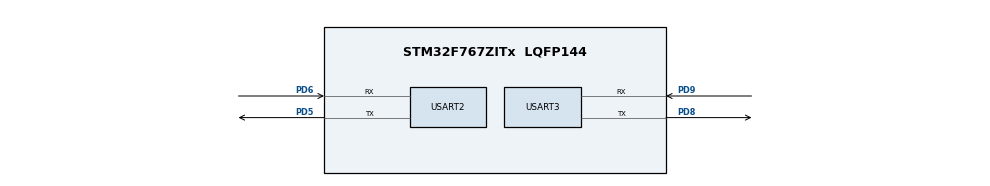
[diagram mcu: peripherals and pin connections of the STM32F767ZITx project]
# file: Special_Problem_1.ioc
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Mcu.Family=STM32F7
Mcu.Name=STM32F767ZITx
Mcu.Package=LQFP144
NVIC.PriorityGroup=NVIC_PRIORITYGROUP_2
PD5.Mode=Asynchronous
PD5.Signal=USART2_TX
PD6.Mode=Asynchronous
PD6.Signal=USART2_RX
PD8.Mode=Asynchronous
PD8.Signal=USART3_TX
PD9.Mode=Asynchronous
PD9.Signal=USART3_RX
ProjectManager.HeapSize=0x200
ProjectManager.StackSize=0x400
ProjectManager.TargetToolchain=STM32CubeIDE
RCC.HSE_VALUE=25000000
RCC.HSI_VALUE=16000000
RCC.LSE_VALUE=32768
RCC.USBFreq_Value=96000000
RCC.VCOOutputFreq_Value=192000000
USART2.VirtualMode-Asynchronous=VM_ASYNC
USART3.VirtualMode-Asynchronous=VM_ASYNC
board=custom

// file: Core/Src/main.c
/* USER CODE BEGIN Header */
/**
 ******************************************************************************
 * @file           : main.c
 * @brief          : Main program body
 ******************************************************************************
 * @attention
 *
 * Copyright (c) 2023 STMicroelectronics.
 * All rights reserved.
 *
 * This software is licensed under terms that can be found in the LICENSE file
 * in the root directory of this software component.
 * If no LICENSE file comes with this software, it is provided AS-IS.
 *
 ******************************************************************************
 */
/* USER CODE END Header */
#include "main.h"

/* USER CODE BEGIN Includes */
#include "string.h"
/* USER CODE END Includes */

UART_HandleTypeDef huart2;
UART_HandleTypeDef huart3;

/* USER CODE BEGIN PV */
static char name[100] = "\t";
static char ch1 = ' ';
int state = 0;
static char name2[100] = "\t";
char fromUART2[100] = " ";
int k = 0;
char fromUART3[50] = " ";
/* USER CODE END PV */

void SystemClock_Config(void);
static void MX_GPIO_Init(void);
static void MX_USART2_UART_Init(void);
static void MX_USART3_UART_Init(void);

int main(void) {

	/* MCU Configuration--------------------------------------------------------*/

	/* Reset of all peripherals, Initializes the Flash interface and the Systick. */
	HAL_Init();

	/* Configure the system clock */
	SystemClock_Config();

	/* Initialize all configured peripherals */
	MX_GPIO_Init();
	MX_USART2_UART_Init();
	MX_USART3_UART_Init();
	/* USER CODE BEGIN 2 */
	/*-----------------------------------------------RX---------------------------------------------------------------*/
	while (__HAL_UART_GET_FLAG(&huart3,UART_FLAG_TC) == RESET) {
	}
	HAL_UART_Transmit(&huart3, (uint8_t*) "Man from U.A.R.T.2!\nQuit PRESS q\n",
			strlen("Man from U.A.R.T.2!\nQuit PRESS q\n"), 100);
	if (state == 0) {
		while (ch1 != '\n') {
			while (__HAL_UART_GET_FLAG(&huart2,UART_FLAG_RXNE) == RESET) {
			}
			if (HAL_UART_Receive(&huart2, (uint8_t*) &ch1, 1, 100) == HAL_OK) {
				//HAL_UART_Transmit(&huart3, (uint8_t*) &ch1, 1, 100);
				//strcat(fromUART2,ch1);
				fromUART2[k] = ch1;
				k++;
			}
		}
		ch1 = ' ';
		state = 1;
		for (int i = 0; i < strlen(fromUART2) - 1; i++) {
			name2[i + 1] = fromUART2[i];
		}
		name2[k] = ' ';
		name2[k + 1] = ':';
		name2[k + 2] = ' ';
		fromUART2[strlen(fromUART2) - 1] = ' ';
		while (__HAL_UART_GET_FLAG(&huart3,UART_FLAG_TC) == RESET) {
		}
		HAL_UART_Transmit(&huart3, (uint8_t*) "\t", 1, 1000);
		while (__HAL_UART_GET_FLAG(&huart3,UART_FLAG_TC) == RESET) {
		}
		HAL_UART_Transmit(&huart3, (uint8_t*) fromUART2, strlen(fromUART2),
				1000);
		while (__HAL_UART_GET_FLAG(&huart3,UART_FLAG_TC) == RESET) {
		}
		HAL_UART_Transmit(&huart3, (uint8_t*) "is ready\n", 10, 1000);

	}
	/*--------------------------------------------------------TX-------------------------------------------------------*/
	int index = 0;
	if (state == 1) {
		while (__HAL_UART_GET_FLAG(&huart3,UART_FLAG_TC) == RESET) {
		}
		HAL_UART_Transmit(&huart3, (uint8_t*) "\tName: ", 7, 100);
		ch1 = ' ';
		while (ch1 != '\n') {
			while (__HAL_UART_GET_FLAG(&huart3,UART_FLAG_RXNE) == RESET) {
			}
			if (HAL_UART_Receive(&huart3, (uint8_t*) &ch1, 1, 100) == HAL_OK) {
				while (__HAL_UART_GET_FLAG(&huart3,UART_FLAG_TC) == RESET) {
				}
				HAL_UART_Transmit(&huart3, (uint8_t*) &ch1, 1, 100);
				name[index] = ch1;
				index++;
			}
		}
		ch1 = ' ';
		//HAL_UART_Transmit(&huart3, (uint8_t*) name, strlen(name), 1000);
		for (int i = 0; i < index; i++) {
			while (__HAL_UART_GET_FLAG(&huart2,UART_FLAG_TC) == RESET) {
			}
			HAL_UART_Transmit(&huart2, (uint8_t*) &name + i, 1, 1000);
			HAL_Delay(100);
		}
//		while (__HAL_UART_GET_FLAG(&huart2,UART_FLAG_TC) == RESET) {
//					}
//		HAL_UART_Transmit(&huart2, (uint8_t*) "\n", 1, 1000);
		name[index - 1] = ' ';
		name[index] = '=';
		name[index+1] = '>';
		name[index + 2] = ' ';
		state = 0;
	}

	/* USER CODE END 2 */

	/* Infinite loop */
	/* USER CODE BEGIN WHILE */
	while (1) {
		if (state == 0) {
			k = 0;
			ch1 = ' ';
			while (ch1 != '\n') {
				while (__HAL_UART_GET_FLAG(&huart2,UART_FLAG_RXNE) == RESET) {
				}
				if (HAL_UART_Receive(&huart2, (uint8_t*) &ch1, 1, 300)
						== HAL_OK) {
//					while (__HAL_UART_GET_FLAG(&huart3,UART_FLAG_TC) == RESET) {
//					}
//					HAL_UART_Transmit(&huart3, (uint8_t*) &ch1, 1, 100);
					//HAL_Delay(100);
					//strcat(fromUART2,ch1);
					if (ch1 == 'q') {
						state = 2;
					}
					fromUART2[k] = ch1;
					k++;
				}
			}
			if (state != 2) {
				ch1 = ' ';
				fromUART2[k - 1] = ' ';
				while (__HAL_UART_GET_FLAG(&huart3,UART_FLAG_TC) == RESET) {
				}
				HAL_UART_Transmit(&huart3, (uint8_t*) name2, strlen(name2),
						1000);
				while (__HAL_UART_GET_FLAG(&huart3,UART_FLAG_TC) == RESET) {
				}
				HAL_UART_Transmit(&huart3, (uint8_t*) fromUART2, k - 1, 1000);
				state = 1;
			} else {
				while (__HAL_UART_GET_FLAG(&huart3,UART_FLAG_TC) == RESET) {
				}
				HAL_UART_Transmit(&huart3,
						(uint8_t*) "Program ended from U.A.R.T.1",
						strlen("Program ended from U.A.R.T.1"), 1000);
			}
		} else if (state == 1) {
			while (__HAL_UART_GET_FLAG(&huart3,UART_FLAG_TC) == RESET) {
			}
			HAL_UART_Transmit(&huart3, (uint8_t*) "\n\t", 2, 100);
			while (__HAL_UART_GET_FLAG(&huart3,UART_FLAG_TC) == RESET) {
			}
			HAL_UART_Transmit(&huart3, (uint8_t*) name, index + 3, 100);
			index = 0;
			while (ch1 != '\n') {
				while (__HAL_UART_GET_FLAG(&huart3,UART_FLAG_RXNE) == RESET) {
				}
				if (HAL_UART_Receive(&huart3, (uint8_t*) &ch1, 1, 100)
						== HAL_OK) {
					while (__HAL_UART_GET_FLAG(&huart3,UART_FLAG_TC) == RESET) {
					}
					HAL_UART_Transmit(&huart3, (uint8_t*) &ch1, 1, 100);
					fromUART3[index] = ch1;
					index++;
				}
			}
			ch1 = ' ';
			//HAL_UART_Transmit(&huart3, (uint8_t*) name, strlen(name), 1000);
			for (int i = 0; i < index; i++) {
				while (__HAL_UART_GET_FLAG(&huart2,UART_FLAG_TC) == RESET) {
				}
				HAL_UART_Transmit(&huart2, (uint8_t*) &fromUART3 + i, 1, 100);
				HAL_Delay(100);
			}
			state = 0;
			if (fromUART3[0] == 'q') {
				state = 2;
				while (__HAL_UART_GET_FLAG(&huart3,UART_FLAG_TC) == RESET) {
				}
				HAL_UART_Transmit(&huart3,
						(uint8_t*) "Program ended from U.A.R.T.2",
						strlen("Program ended from U.A.R.T.2"), 1000);
			}
		}

		/* USER CODE END WHILE */

	}
}

void SystemClock_Config(void) {
	RCC_OscInitTypeDef RCC_OscInitStruct = { 0 };
	RCC_ClkInitTypeDef RCC_ClkInitStruct = { 0 };

	/** Configure the main internal regulator output voltage
	 */
	__HAL_RCC_PWR_CLK_ENABLE();
	__HAL_PWR_VOLTAGESCALING_CONFIG(PWR_REGULATOR_VOLTAGE_SCALE3);

	/** Initializes the RCC Oscillators according to the specified parameters
	 * in the RCC_OscInitTypeDef structure.
	 */
	RCC_OscInitStruct.OscillatorType = RCC_OSCILLATORTYPE_HSI;
	RCC_OscInitStruct.HSIState = RCC_HSI_ON;
	RCC_OscInitStruct.HSICalibrationValue = RCC_HSICALIBRATION_DEFAULT;
	RCC_OscInitStruct.PLL.PLLState = RCC_PLL_NONE;
	if (HAL_RCC_OscConfig(&RCC_OscInitStruct) != HAL_OK) {
		Error_Handler();
	}

	/** Initializes the CPU, AHB and APB buses clocks
	 */
	RCC_ClkInitStruct.ClockType = RCC_CLOCKTYPE_HCLK | RCC_CLOCKTYPE_SYSCLK
			| RCC_CLOCKTYPE_PCLK1 | RCC_CLOCKTYPE_PCLK2;
	RCC_ClkInitStruct.SYSCLKSource = RCC_SYSCLKSOURCE_HSI;
	RCC_ClkInitStruct.AHBCLKDivider = RCC_SYSCLK_DIV1;
	RCC_ClkInitStruct.APB1CLKDivider = RCC_HCLK_DIV1;
	RCC_ClkInitStruct.APB2CLKDivider = RCC_HCLK_DIV1;

	if (HAL_RCC_ClockConfig(&RCC_ClkInitStruct, FLASH_LATENCY_0) != HAL_OK) {
		Error_Handler();
	}
}

static void MX_USART2_UART_Init(void) {

	huart2.Instance = USART2;
	huart2.Init.BaudRate = 115200;
	huart2.Init.WordLength = UART_WORDLENGTH_8B;
	huart2.Init.StopBits = UART_STOPBITS_1;
	huart2.Init.Parity = UART_PARITY_NONE;
	huart2.Init.Mode = UART_MODE_TX_RX;
	huart2.Init.HwFlowCtl = UART_HWCONTROL_NONE;
	huart2.Init.OverSampling = UART_OVERSAMPLING_16;
	huart2.Init.OneBitSampling = UART_ONE_BIT_SAMPLE_DISABLE;
	huart2.AdvancedInit.AdvFeatureInit = UART_ADVFEATURE_NO_INIT;
	if (HAL_UART_Init(&huart2) != HAL_OK) {
		Error_Handler();
	}

}

static void MX_USART3_UART_Init(void) {

	huart3.Instance = USART3;
	huart3.Init.BaudRate = 115200;
	huart3.Init.WordLength = UART_WORDLENGTH_8B;
	huart3.Init.StopBits = UART_STOPBITS_1;
	huart3.Init.Parity = UART_PARITY_NONE;
	huart3.Init.Mode = UART_MODE_TX_RX;
	huart3.Init.HwFlowCtl = UART_HWCONTROL_NONE;
	huart3.Init.OverSampling = UART_OVERSAMPLING_16;
	huart3.Init.OneBitSampling = UART_ONE_BIT_SAMPLE_DISABLE;
	huart3.AdvancedInit.AdvFeatureInit = UART_ADVFEATURE_NO_INIT;
	if (HAL_UART_Init(&huart3) != HAL_OK) {
		Error_Handler();
	}

}

static void MX_GPIO_Init(void) {

	/* GPIO Ports Clock Enable */
	__HAL_RCC_GPIOD_CLK_ENABLE();

}

/* USER CODE BEGIN 4 */
//void HAL_UART_RxCpltCallback(UART_HandleTypeDef *huart) {
//	if (state == 0) {
//		HAL_UART_Receive_IT(&huart2, &ch1, 1);
//	} else {
//		HAL_UART_Receive_IT(&huart3, &ch1, 1);
//	}
//}
/* USER CODE END 4 */

void Error_Handler(void) {
	__disable_irq();
	while (1) {
	}
}
